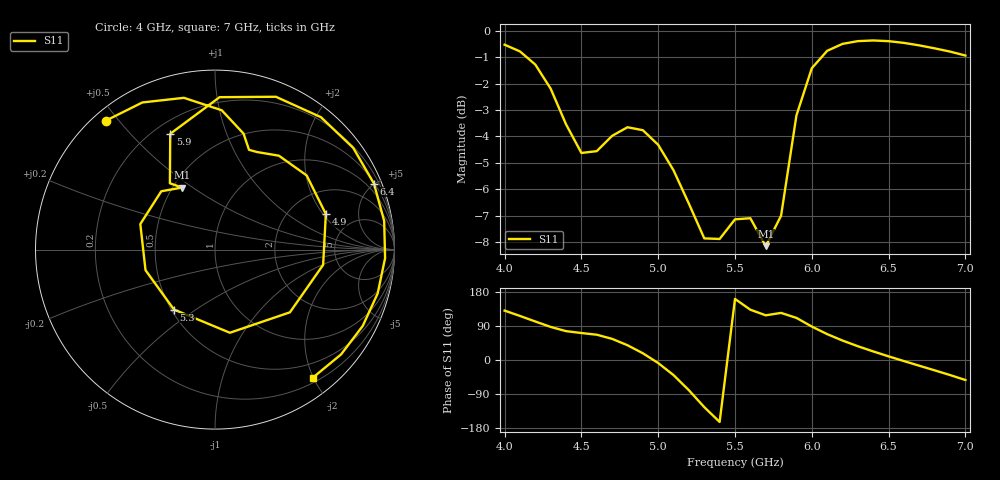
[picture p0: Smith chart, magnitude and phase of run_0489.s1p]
! Touchstone file exported from HFSS 2024.2.0
!  File:  C:/Users/wsak9/Desktop/Sim Fast/Widenad Patch/WP_AI_V1_sweep.aedt
!  Generated:  12:30:03 PM Oct 14, 2026
!  Design:  A1_model
!  Project:  WP_AI_V1_sweep
!  Setup:  Setup1
!  Solution:  Sweep
! Variables:
!  Air_gap = 2.5mm
!  Curve_Amp1 = 2.47
!  Curve_len1 = 1
!  Curve_pos = 11.21mm
!  Extra = 7.68mm
!  H_sub = 0.79mm
!  L_Patch = 18.42mm
!  L_Patch1 = 19.32mm
!  Sx = 1.74mm
!  Sy = 3.46mm
!  WS = 0.59mm
!  W_Patch = 20.24mm
!  W_Patch1 = 11.64mm
!Data is not renormalized
# GHz S MA
! Terminal data exported
! Port[1] = 1
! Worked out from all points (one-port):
!   31 points, 4 GHz to 7 GHz, reference per port
!   lowest |S11| = -8.2 dB at 5.7 GHz (marker M1), VSWR 2.29
!   |S11| at or under -10 dB: nowhere
!   S11 on the Smith chart (normalised r, x): 4 GHz: 0.04, +0.46; 4.9 GHz: 3.12, +2.14; 5.3 GHz: 0.52, -0.41; 5.9 GHz: 0.26, +0.65; 6.4 GHz: 0.54, +4.95; 7 GHz: 0.27, -1.99
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4  0.9413 130.3
4.1  0.9142 116.3
4.2  0.8631 101.6
4.3  0.7771 87.2
4.4  0.6653 76.1
4.5  0.5873 71.2
4.6  0.5919 66.7
4.7  0.6328 55.8
4.8  0.6569 39.0
4.9  0.6485 17.8
5  0.6085 -8.0
5.1  0.5444 -39.9
5.2  0.4707 -79.9
5.3  0.4047 -124.4
5.4  0.4037 -163.5
5.5  0.4398 161.1
5.6  0.4418 132.6
5.7  0.3912 117.9
5.8  0.4468 124.2
5.9  0.6917 111.1
6  0.8496 88.3
6.1  0.9166 68.3
6.3  0.9562 36.3
6.4  0.9589 22.6
6.5  0.956 9.6
6.7  0.9386 -15.1
6.9  0.9135 -39.7
7  0.8979 -52.8
